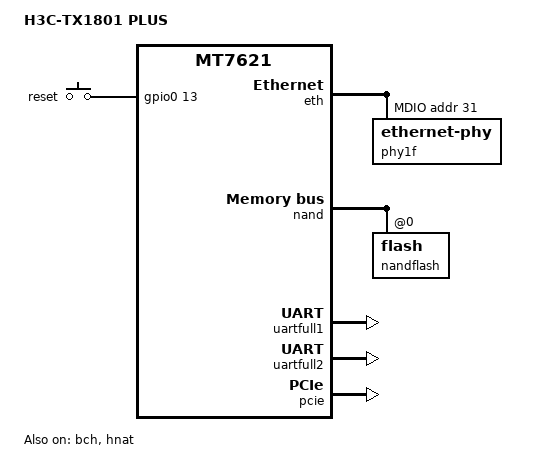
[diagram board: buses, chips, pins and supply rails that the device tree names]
/dts-v1/;

#include "mt7621.dtsi"
#include <dt-bindings/input/input.h>

/ {
	compatible = "mediatek,mt7621-h3c-tx1801", "mediatek,mt7621-soc";
	model = "H3C-TX1801 PLUS";

	chosen {
		bootargs = "console=ttyS0,115200";
	};

	gpio-keys-polled {
		compatible = "gpio-keys-polled";
		#address-cells = <1>;
		#size-cells = <0>;
		poll-interval = <20>;

		reset {
			label = "reset";
			gpios = <&gpio0 13 0>;
			linux,code = <KEY_RESTART>;
		};
	};

	nmbm {
		compatible = "generic,nmbm";

		#address-cells = <1>;
		#size-cells = <1>;

		lower-mtd-device = <&nandflash>;
		forced-create;

		partitions {
			compatible = "fixed-partitions";
			#address-cells = <1>;
			#size-cells = <1>;

			partition@0 {
				label = "Bootloader";
				reg = <0x00000 0x80000>;
				read-only;
			};

			partition@0 {
				label = "u-boot-env";
				reg = <0x80000 0x80000>;
				read-only;
			};

			partition@100000 {
				label = "boarddata";
				reg = <0x100000 0x80000>;
			};

			partition@180000 {
				label = "Factory";
				reg = <0x180000 0x80000>;
			};

			partition@200000 {
				label = "Kernel";
				reg = <0x200000 0x2300000>;
			};

			partition@2500000 {
				label = "Kernel2";
				reg = <0x2500000 0x2300000>;
			};

			partition@4800000 {
				label = "jffs2";
				reg = <0x4800000 0x2F40000>;
			};

			partition@7740000  {
				label = "Factory2";
				reg = <0x7740000 0x80000>;
			};

			partition@77C0000  {
				label = "nvram";
				reg = <0x77C0000 0x40000>;
			};
/*
			0x7800000-0x8000000 nmbm
*/
		};
	};
};

&bch {
	status = "okay";
};

&eth {
        status = "okay";
		pinctrl-names = "default";
		pinctrl-0 = <&rgmii1_pins &rgmii2_pins &mdio_pins>;

        gmac0: mac@0 {
                compatible = "mediatek,eth-mac";
                reg = <0>;
                phy-mode = "trgmii";
                fixed-link {
                        speed = <1000>;
                        full-duplex;
                        pause;
                };
        };

        gmac1: mac@1 {
                compatible = "mediatek,eth-mac";
                reg = <1>;
                phy-mode = "rgmii";
                fixed-link {
                        speed = <1000>;
                        full-duplex;
                        pause;
                };
        };

        mdio: mdio-bus {
                #address-cells = <1>;
                #size-cells = <0>;

                phy1f: ethernet-phy@1f {
                        reg = <0x1f>;
                        phy-mode = "rgmii";
                };
        };
};

&gsw {
        mediatek,mdio = <&mdio>;
        mediatek,portmap = "llllw";
        mediatek,mcm;
	mt7530,direct-phy-access;

        resets = <&rstctrl 2>;
        reset-names = "mcm";

        port5: port@5 {
                compatible = "mediatek,mt753x-port";
                reg = <5>;
                phy-mode = "rgmii";
                fixed-link {
                        speed = <1000>;
                        full-duplex;
                };
        };

        port6: port@6 {
                compatible = "mediatek,mt753x-port";
                reg = <6>;
                phy-mode = "trgmii";
                fixed-link {
                        speed = <1000>;
                        full-duplex;
                };
        };

        mdio-bus {
                #address-cells = <1>;
                #size-cells = <0>;
        };
};

&hnat {
        mtketh-wan = "eth1";
        mtketh-ppd = "vlan1";
		mtketh-lan = "vlan1";
        ext-devices = "rai0", "ra0", "rai1", "ra1", "rai2", "ra2", "rai3", "ra3", "apclii0", "apcli0";
        mtketh-max-gmac = <2>;
        status = "okay";
};

&nand {
	status = "okay";

	nandflash: flash@0 {
		reg = <0>;
		nand-ecc-mode = "hw";
		partitions {
			compatible = "fixed-partitions";
			#address-cells = <1>;
			#size-cells = <1>;
		};
	};
};

&pinctrl {
	state_default: pinctrl0 {
		gpio {
			mtk,group = "i2c";
			mtk,function = "gpio";
		};

		uart2 {
			mtk,group = "uart2";
			mtk,function = "gpio";
		};

		uart3 {
			mtk,group = "uart3";
			mtk,function = "gpio";
		};

		jtag {
			mtk,group = "jtag";
			mtk,function = "gpio";
		};

		wdt {
			mtk,group = "wdt";
			mtk,function = "gpio";
		};
	};
};

&uartfull1 {
	status = "okay";
};

&uartfull2 {
	status = "okay";
};

&pcie {
	status = "okay";
};

